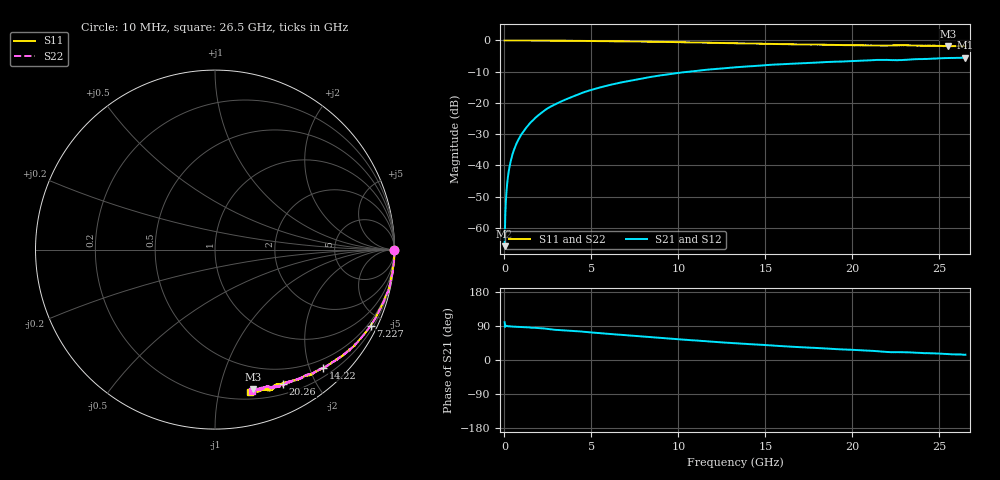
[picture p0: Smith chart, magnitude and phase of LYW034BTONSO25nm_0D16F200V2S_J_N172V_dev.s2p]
!Keysight Technologies,N5222B,MY61253708,A.15.00.15
!Date: Wednesday, June 19, 2024 10:25:24
!Correction: S11(C  2-Port  )
!S21(C  2-Port  )
!S12(C  2-Port  )
!S22(C  2-Port  )
!S2P File: Measurements: S11, S21, S12, S22:
# Hz S  RI  R 50
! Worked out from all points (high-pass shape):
!   2651 points, 10 MHz to 26.5 GHz, reference 50 ohm
!   highest |S21| = -5.45 dB at 26.5 GHz (marker M1); lowest = -65.8 dB at 10 MHz (marker M2)
!   |S21| within 3 dB of the highest: 13.58379 GHz to 13.60046 GHz (16.68 MHz wide, 0.123 % of centre); 13.63 GHz to end of sweep
!   lowest |S11| = -1.9 dB at 25.5 GHz (marker M3), VSWR 9.29, Z = 14.4 - j63.6 ohm
!   |S11| at or under -10 dB: nowhere
!   |S22| runs from -1.8 to 0.0 dB; largest |S21 - S12| = 0.0067
!   S11 on the Smith chart (normalised r, x): 10 MHz: open; 7.227 GHz: 0.35, -4.30; 14.22 GHz: 0.34, -2.22; 20.26 GHz: 0.31, -1.58; 26.5 GHz: 0.26, -1.24
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1e7  0.9989 -0.00293  -8.57e-05 0.000505  0.000209 0.000264  0.9984 -0.00202
7.997358e7  0.9999 -0.00561  2.32e-05 0.0026  2.01e-05 0.00259  0.9993 -0.00517
1.599434e8  1 -0.0111  6.41e-05 0.00518  5.1e-05 0.00523  0.9996 -0.0104
2.099245e8  0.9999 -0.0139  9.13e-05 0.00683  8.55e-05 0.00682  0.9995 -0.0133
2.699019e8  0.9999 -0.018  0.000147 0.00875  0.000205 0.00882  1 -0.0171
3.698642e8  0.9998 -0.0249  0.00024 0.012  0.00032 0.012  0.9995 -0.0241
4.998151e8  0.9987 -0.0329  0.000515 0.0162  0.000539 0.0162  0.999 -0.032
6.597547e8  0.9985 -0.0428  0.000858 0.0213  0.000838 0.0214  0.9987 -0.042
8.596792e8  0.998 -0.056  0.00151 0.0277  0.0015 0.0277  0.9977 -0.0557
1.459453e9  0.991 -0.0963  0.00344 0.0474  0.00344 0.0474  0.9935 -0.0926
2.329125e9  0.9825 -0.1489  0.00945 0.0761  0.0096 0.0763  0.9837 -0.1493
3.208792e9  0.9724 -0.2042  0.0203 0.102  0.0203 0.1022  0.9723 -0.2033
4.428332e9  0.9447 -0.2761  0.0369 0.1391  0.0371 0.1394  0.9465 -0.2735
7.227275e9  0.8667 -0.4236  0.0976 0.2053  0.0984 0.2055  0.8679 -0.4227
8.846664e9  0.8096 -0.4966  0.1406 0.2338  0.1414 0.2339  0.8111 -0.4952
1.3255e10  0.6377 -0.6382  0.2655 0.2598  0.267 0.2592  0.6407 -0.6373
1.422463e10  0.6011 -0.661  0.2906 0.2576  0.2918 0.2568  0.6052 -0.6568
1.767333e10  0.468 -0.7205  0.3712 0.2345  0.3737 0.2327  0.4772 -0.7183
2.026235e10  0.3794 -0.7481  0.4222 0.2085  0.4245 0.2059  0.3951 -0.7473
2.209166e10  0.3333 -0.7566  0.4546 0.1745  0.4557 0.1718  0.3258 -0.7625
2.550038e10  0.2134 -0.7769  0.5047 0.139  0.5055 0.1391  0.2329 -0.7787
2.65e10  0.1941 -0.7915  0.5183 0.1282  0.5172 0.1246  0.2063 -0.7892
